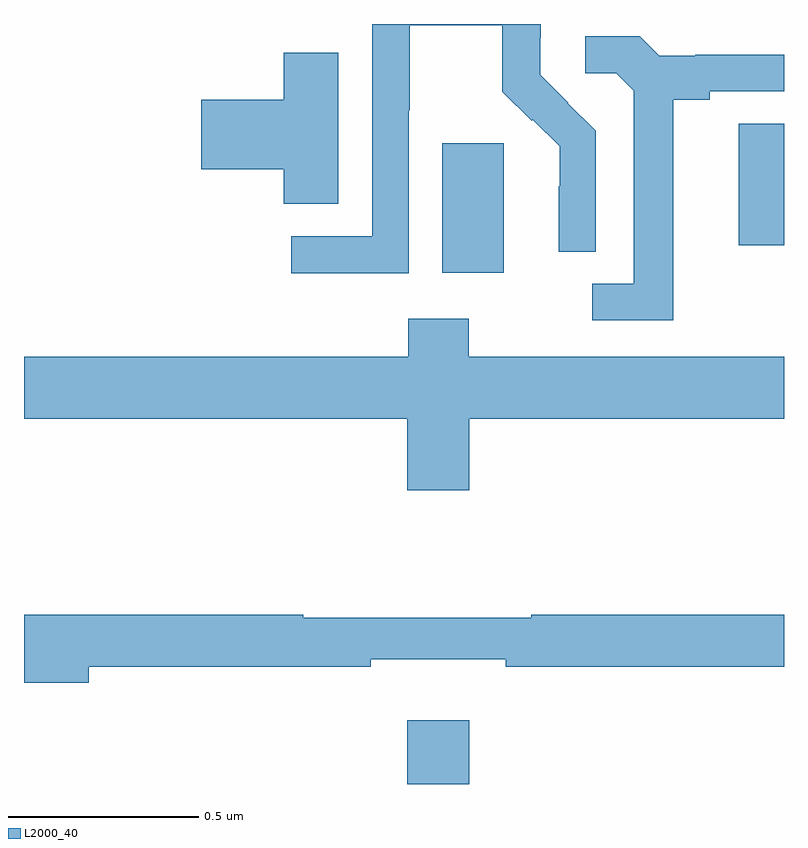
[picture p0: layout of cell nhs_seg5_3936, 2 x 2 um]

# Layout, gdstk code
import gdstk
lib = gdstk.Library(unit=1e-6, precision=1e-09)
def R(c, l, rs):  # rectangles x0, y0, x1, y1
    for r in rs: c.add(gdstk.rectangle(r[:2], r[2:], *l))
def P(c, l, *ps):  # polygons
    for p in ps: c.add(gdstk.Polygon(p, *l))
L2000_40 = (2000, 40)

nhs_seg5_3936 = lib.new_cell('nhs_seg5_3936')
R(nhs_seg5_3936, L2000_40, [(165.008,855.799,165.172,855.967), (165.101,857.145,165.262,857.485), (165.881,857.217,166,857.537)])
P(nhs_seg5_3936, L2000_40, [(165.012,857.572),(165.015,857.572),(165.015,857.796),(165.259,857.796),(165.259,857.621),(165.336,857.544),(165.339,857.547),(165.41,857.477),(165.41,857.372),(165.407,857.372),(165.407,857.2),(165.504,857.2),(165.504,857.518),(165.431,857.591),(165.432,857.592),(165.358,857.666),(165.358,857.763),(165.36,857.763),(165.36,857.799),(164.916,857.799),(164.916,857.241),(164.703,857.241),(164.703,857.143),(165.012,857.143)],
  [(165.709,857.6),(165.805,857.6),(165.805,857.622),(166,857.622),(166,857.718),(165.766,857.718),(165.766,857.715),(165.672,857.715),(165.62,857.767),(165.477,857.767),(165.477,857.67),(165.558,857.67),(165.605,857.623),(165.605,857.115),(165.495,857.115),(165.495,857.019),(165.709,857.019)],
  [(164.827,857.723),(164.684,857.723),(164.684,857.6),(164.466,857.6),(164.466,857.417),(164.684,857.417),(164.684,857.326),(164.827,857.326)],
  [(165.172,856.76),(166,856.76),(166,856.924),(165.171,856.924),(165.171,857.023),(165.011,857.023),(165.011,856.924),(164,856.924),(164,856.76),(165.008,856.76),(165.008,856.572),(165.172,856.572)],
  [(164.17,856.108),(164.912,856.108),(164.912,856.127),(165.268,856.127),(165.268,856.108),(166,856.108),(166,856.244),(165.335,856.244),(165.335,856.237),(164.735,856.237),(164.735,856.244),(164,856.244),(164,856.066),(164.17,856.066)])

lib.write_gds('nhs_seg5_3936.gds')
